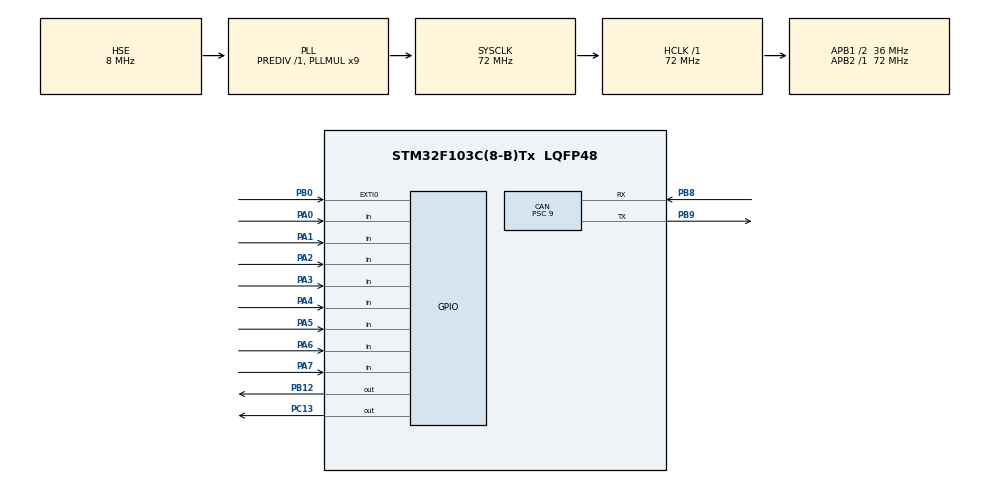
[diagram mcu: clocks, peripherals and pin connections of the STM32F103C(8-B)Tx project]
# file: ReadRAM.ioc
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Mcu.Family=STM32F1
RCC.PLLSourceVirtual=RCC_PLLSOURCE_HSE
PC15-OSC32_OUT.Mode=LSE-External-Oscillator
PA2.GPIO_PuPd=GPIO_PULLDOWN
PD1-OSC_OUT.Mode=HSE-External-Oscillator
CAN.CalculateBaudRate=250000
PA3.GPIO_PuPd=GPIO_PULLDOWN
PB8.GPIO_PuPd=GPIO_NOPULL
PC13-TAMPER-RTC.Signal=GPIO_Output
PD0-OSC_IN.Signal=RCC_OSC_IN
RCC.APB1CLKDivider=RCC_HCLK_DIV2
PC14-OSC32_IN.Signal=RCC_OSC32_IN
CAN.CalculateTimeBit=4000.00
RCC.SYSCLKSource=RCC_SYSCLKSOURCE_PLLCLK
ProjectManager.StackSize=0x400
PA0-WKUP.Signal=GPIO_Input
PD1-OSC_OUT.Signal=RCC_OSC_OUT
PA13.Signal=SYS_JTMS-SWDIO
CAN.BS2=CAN_BS2_8TQ
CAN.BS1=CAN_BS1_7TQ
CAN.Prescaler=9
ProjectManager.TargetToolchain=STM32CubeIDE
RCC.HCLKFreq_Value=72000000
PB9.Mode=CAN_Activate
RCC.APB2TimFreq_Value=72000000
RCC.USBFreq_Value=72000000
CAN.Mode=CAN_MODE_NORMAL
PC15-OSC32_OUT.Signal=RCC_OSC32_OUT
PA1.GPIO_PuPd=GPIO_PULLDOWN
PA1.Signal=GPIO_Input
PA7.GPIO_PuPd=GPIO_PULLDOWN
RCC.AHBFreq_Value=72000000
PD0-OSC_IN.Mode=HSE-External-Oscillator
PA5.Signal=GPIO_Input
PA4.GPIO_PuPd=GPIO_PULLDOWN
board=custom
RCC.PLLMUL=RCC_PLL_MUL9
PB9.GPIO_Mode=GPIO_MODE_AF_PP
RCC.APB2Freq_Value=72000000
PA6.GPIO_PuPd=GPIO_PULLDOWN
PC14-OSC32_IN.Mode=LSE-External-Oscillator
PA14.Mode=Serial_Wire
PA5.GPIO_PuPd=GPIO_PULLDOWN
CAN.NART=ENABLE
PA13.Mode=Serial_Wire
Mcu.Name=STM32F103C(8-B)Tx
CAN.CalculateTimeQuantum=250.0
PA2.Signal=GPIO_Input
NVIC.EXTI0_IRQn=true\:0\:0\:true\:false\:true\:true\:true
PA4.Signal=GPIO_Input
RCC.SYSCLKFreq_VALUE=72000000
Mcu.Package=LQFP48
PB9.Signal=CAN_TX
PA6.Signal=GPIO_Input
PA14.Signal=SYS_JTCK-SWCLK
ProjectManager.HeapSize=0x200
NVIC.PriorityGroup=NVIC_PRIORITYGROUP_4
PB9.GPIO_Speed=GPIO_SPEED_FREQ_HIGH
PB8.Mode=CAN_Activate
CAN.TXFP=ENABLE
RCC.APB1TimFreq_Value=72000000
PB8.Signal=CAN_RX
PA0-WKUP.GPIO_PuPd=GPIO_PULLDOWN
RCC.APB1Freq_Value=36000000
PB0.Signal=GPXTI0
PB12.Signal=GPIO_Output
PB0.GPIO_PuPd=GPIO_PULLDOWN
PA3.Signal=GPIO_Input
PA7.Signal=GPIO_Input

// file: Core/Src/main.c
/* USER CODE BEGIN Header */
/**
  ******************************************************************************
  * @file           : main.c
  * @brief          : Main program body
  ******************************************************************************
  * @attention
  *
  * <h2><center>&copy; Copyright (c) 2021 STMicroelectronics.
  * All rights reserved.</center></h2>
  *
  * This software component is licensed by ST under BSD 3-Clause license,
  * the "License"; You may not use this file except in compliance with the
  * License. You may obtain a copy of the License at:
  *                        opensource.org/licenses/BSD-3-Clause
  *
  ******************************************************************************
  */
/* USER CODE END Header */
#include "main.h"

/* USER CODE BEGIN Includes */
#include "parallel_ram.h"
#include "circle_queue.h"
/* USER CODE END Includes */

CAN_HandleTypeDef hcan;

/* USER CODE BEGIN PV */
struct Queue queueRAM = {0, 0, {0}};
struct Queue queueRx = {0, 0, {0}};
#define PACKAGE_SIZE 8

CAN_FilterTypeDef CanFilter;
CAN_TxHeaderTypeDef CanTxHeader;
CAN_RxHeaderTypeDef CanRxHeader;
/* USER CODE END PV */

void SystemClock_Config(void);
static void MX_GPIO_Init(void);
static void MX_CAN_Init(void);

int main(void)
{

  /* MCU Configuration--------------------------------------------------------*/

  /* Reset of all peripherals, Initializes the Flash interface and the Systick. */
  HAL_Init();

  /* USER CODE BEGIN Init */
  HAL_CAN_Start(&hcan);
  /* USER CODE END Init */

  /* Configure the system clock */
  SystemClock_Config();

  /* Initialize all configured peripherals */
  MX_GPIO_Init();
  MX_CAN_Init();
  /* USER CODE BEGIN 2 */

  HAL_Delay(30000);
  uint8_t tESTdATA[1024];
  	 for (int i = 0; i < 1024; i++) {
  		 tESTdATA[i] = i % 256;
  	 }
  /*	if(GPIO_Pin == GPIO_PIN_0){
  		HAL_GPIO_TogglePin(GPIOB, GPIO_PIN_12);
  		//Kode der implementerer en cirkel buffer
  		for (int i = 0; i<8; i++){
  			EnterQueue(&queueRAM,(uint8_t) 15);
  		}
  		for (int i = 0; i<8; i++){
  			EnterQueue(&queueRAM,(uint8_t) 27);
  		}
  		for (int i = 0; i<8; i++){
  			EnterQueue(&queueRAM,(uint8_t) 102);
  		}
  	}
  	*/
  	sendData(0x3, 1024, tESTdATA);
  	sendData(0x5, 1024, tESTdATA);
  	sendData(0x7, 1024, tESTdATA);

  /* USER CODE END 2 */

  /* Infinite loop */
  while (1)
  {

  }
}

void SystemClock_Config(void)
{
  RCC_OscInitTypeDef RCC_OscInitStruct = {0};
  RCC_ClkInitTypeDef RCC_ClkInitStruct = {0};

  /** Initializes the RCC Oscillators according to the specified parameters
  * in the RCC_OscInitTypeDef structure.
  */
  RCC_OscInitStruct.OscillatorType = RCC_OSCILLATORTYPE_HSE;
  RCC_OscInitStruct.HSEState = RCC_HSE_ON;
  RCC_OscInitStruct.HSEPredivValue = RCC_HSE_PREDIV_DIV1;
  RCC_OscInitStruct.HSIState = RCC_HSI_ON;
  RCC_OscInitStruct.PLL.PLLState = RCC_PLL_ON;
  RCC_OscInitStruct.PLL.PLLSource = RCC_PLLSOURCE_HSE;
  RCC_OscInitStruct.PLL.PLLMUL = RCC_PLL_MUL9;
  if (HAL_RCC_OscConfig(&RCC_OscInitStruct) != HAL_OK)
  {
    Error_Handler();
  }
  /** Initializes the CPU, AHB and APB buses clocks
  */
  RCC_ClkInitStruct.ClockType = RCC_CLOCKTYPE_HCLK|RCC_CLOCKTYPE_SYSCLK
                              |RCC_CLOCKTYPE_PCLK1|RCC_CLOCKTYPE_PCLK2;
  RCC_ClkInitStruct.SYSCLKSource = RCC_SYSCLKSOURCE_PLLCLK;
  RCC_ClkInitStruct.AHBCLKDivider = RCC_SYSCLK_DIV1;
  RCC_ClkInitStruct.APB1CLKDivider = RCC_HCLK_DIV2;
  RCC_ClkInitStruct.APB2CLKDivider = RCC_HCLK_DIV1;

  if (HAL_RCC_ClockConfig(&RCC_ClkInitStruct, FLASH_LATENCY_2) != HAL_OK)
  {
    Error_Handler();
  }
}

static void MX_CAN_Init(void)
{

  /* USER CODE BEGIN CAN_Init 0 */

	  CanTxHeader.DLC = PACKAGE_SIZE;						// Der kommer 8 byte som data i beskeden
	  CanTxHeader.ExtId = 0x00000000;						// 32 bit ID (29 er identifier)
	  CanTxHeader.IDE = CAN_ID_EXT;							// Vi har et extended ID = 32 bit til forskel fra standard på 16 bit (11 er identifier)
	  CanTxHeader.RTR = CAN_RTR_DATA;						// Vi sender data
	  CanTxHeader.TransmitGlobalTime = DISABLE;				// Der skal IKKE sendes et timestamp med hver besked

  /* USER CODE END CAN_Init 0 */

  /* USER CODE BEGIN CAN_Init 1 */

	  __HAL_RCC_CAN1_CLK_ENABLE();

  /* USER CODE END CAN_Init 1 */
  hcan.Instance = CAN1;
  hcan.Init.Prescaler = 9;
  hcan.Init.Mode = CAN_MODE_NORMAL;
  hcan.Init.SyncJumpWidth = CAN_SJW_1TQ;
  hcan.Init.TimeSeg1 = CAN_BS1_7TQ;
  hcan.Init.TimeSeg2 = CAN_BS2_8TQ;
  hcan.Init.TimeTriggeredMode = DISABLE;
  hcan.Init.AutoBusOff = DISABLE;
  hcan.Init.AutoWakeUp = DISABLE;
  hcan.Init.AutoRetransmission = ENABLE;
  hcan.Init.ReceiveFifoLocked = DISABLE;
  hcan.Init.TransmitFifoPriority = ENABLE;
  if (HAL_CAN_Init(&hcan) != HAL_OK)
  {
    Error_Handler();
  }
  /* USER CODE BEGIN CAN_Init 2 */

  //HAL_CAN_ConfigFilter(&hcan, &CanFilter);
  //HAL_CAN_ActivateNotification(&hcan, CAN_IT_RX_FIFO0_MSG_PENDING);
  HAL_CAN_Start(&hcan);
  /* USER CODE END CAN_Init 2 */

}

static void MX_GPIO_Init(void)
{
  GPIO_InitTypeDef GPIO_InitStruct = {0};

  /* GPIO Ports Clock Enable */
  __HAL_RCC_GPIOC_CLK_ENABLE();
  __HAL_RCC_GPIOD_CLK_ENABLE();
  __HAL_RCC_GPIOA_CLK_ENABLE();
  __HAL_RCC_GPIOB_CLK_ENABLE();

  /*Configure GPIO pin Output Level */
  HAL_GPIO_WritePin(GPIOC, GPIO_PIN_13, GPIO_PIN_RESET);

  /*Configure GPIO pin Output Level */
  HAL_GPIO_WritePin(GPIOB, GPIO_PIN_12, GPIO_PIN_RESET);

  /*Configure GPIO pin : PC13 */
  GPIO_InitStruct.Pin = GPIO_PIN_13;
  GPIO_InitStruct.Mode = GPIO_MODE_OUTPUT_PP;
  GPIO_InitStruct.Pull = GPIO_NOPULL;
  GPIO_InitStruct.Speed = GPIO_SPEED_FREQ_LOW;
  HAL_GPIO_Init(GPIOC, &GPIO_InitStruct);

  /*Configure GPIO pins : PA0 PA1 PA2 PA3
                           PA4 PA5 PA6 PA7 */
  GPIO_InitStruct.Pin = GPIO_PIN_0|GPIO_PIN_1|GPIO_PIN_2|GPIO_PIN_3
                          |GPIO_PIN_4|GPIO_PIN_5|GPIO_PIN_6|GPIO_PIN_7;
  GPIO_InitStruct.Mode = GPIO_MODE_INPUT;
  GPIO_InitStruct.Pull = GPIO_PULLDOWN;
  HAL_GPIO_Init(GPIOA, &GPIO_InitStruct);

  /*Configure GPIO pin : PB0 */
  GPIO_InitStruct.Pin = GPIO_PIN_0;
  GPIO_InitStruct.Mode = GPIO_MODE_IT_RISING;
  GPIO_InitStruct.Pull = GPIO_PULLDOWN;
  HAL_GPIO_Init(GPIOB, &GPIO_InitStruct);

  /*Configure GPIO pin : PB12 */
  GPIO_InitStruct.Pin = GPIO_PIN_12;
  GPIO_InitStruct.Mode = GPIO_MODE_OUTPUT_PP;
  GPIO_InitStruct.Pull = GPIO_NOPULL;
  GPIO_InitStruct.Speed = GPIO_SPEED_FREQ_LOW;
  HAL_GPIO_Init(GPIOB, &GPIO_InitStruct);

  /* EXTI interrupt init*/
  HAL_NVIC_SetPriority(EXTI0_IRQn, 0, 0);
  HAL_NVIC_EnableIRQ(EXTI0_IRQn);

}

/* USER CODE BEGIN 4 */

void HAL_GPIO_EXTI_Callback(uint16_t GPIO_Pin)
{
	 uint8_t tESTdATA[1024];
	 for (int i = 0; i < 1024; i++) {
		 tESTdATA[i] = i % 256;
	 }
/*	if(GPIO_Pin == GPIO_PIN_0){
		HAL_GPIO_TogglePin(GPIOB, GPIO_PIN_12);
		//Kode der implementerer en cirkel buffer
		for (int i = 0; i<8; i++){
			EnterQueue(&queueRAM,(uint8_t) 15);
		}
		for (int i = 0; i<8; i++){
			EnterQueue(&queueRAM,(uint8_t) 27);
		}
		for (int i = 0; i<8; i++){
			EnterQueue(&queueRAM,(uint8_t) 102);
		}
	}
	*/
	sendData(0x3, 1024, tESTdATA);
	sendData(0x5, 1024, tESTdATA);
	sendData(0x7, 1024, tESTdATA);
}

void sendData(uint32_t TxID, uint16_t numOfBytes, uint8_t *dataArray) {
	uint8_t dataToMB[PACKAGE_SIZE] = {0};
	uint32_t randoMailBox;
	CanTxHeader.ExtId = TxID;
if (numOfBytes % PACKAGE_SIZE == 0)
{
	for (int i = 0; i < numOfBytes/PACKAGE_SIZE; i++) {
		while (HAL_CAN_GetTxMailboxesFreeLevel(&hcan) == 0) {}
		if (messageSplitter(dataArray, dataToMB, i)) {
			if (HAL_CAN_AddTxMessage(&hcan, &CanTxHeader, dataToMB, &randoMailBox) != HAL_OK) {
				Error_Handler();
			}
		}
	}

}
else {return 0;}

}
void messageSplitter(uint8_t *sourceArray, uint8_t *destinationArray, uint8_t position)
{

	for(int i=0 ; i < PACKAGE_SIZE; i++)
	{
		*(destinationArray + i) = *(sourceArray + (position * 8) + i);

}
return 1;
}
void fillDataArray(struct Queue *source, uint8_t *data) {
	for (int i = 0; i < PACKAGE_SIZE; i++) {
		if (LeaveQueue(source, data + i)) { //Gemmer en byte fra source til data. Flere bytes gemmes ved at inkrementere data (som jo er en pointer til hvert element i data[])
			continue;
		} else {
			return 0;
		}
	}
	return 1;
}

/* USER CODE END 4 */

void Error_Handler(void)
{
  __disable_irq();
  while (1)
  {
  }
}

/************************ (C) COPYRIGHT STMicroelectronics *****END OF FILE****/
